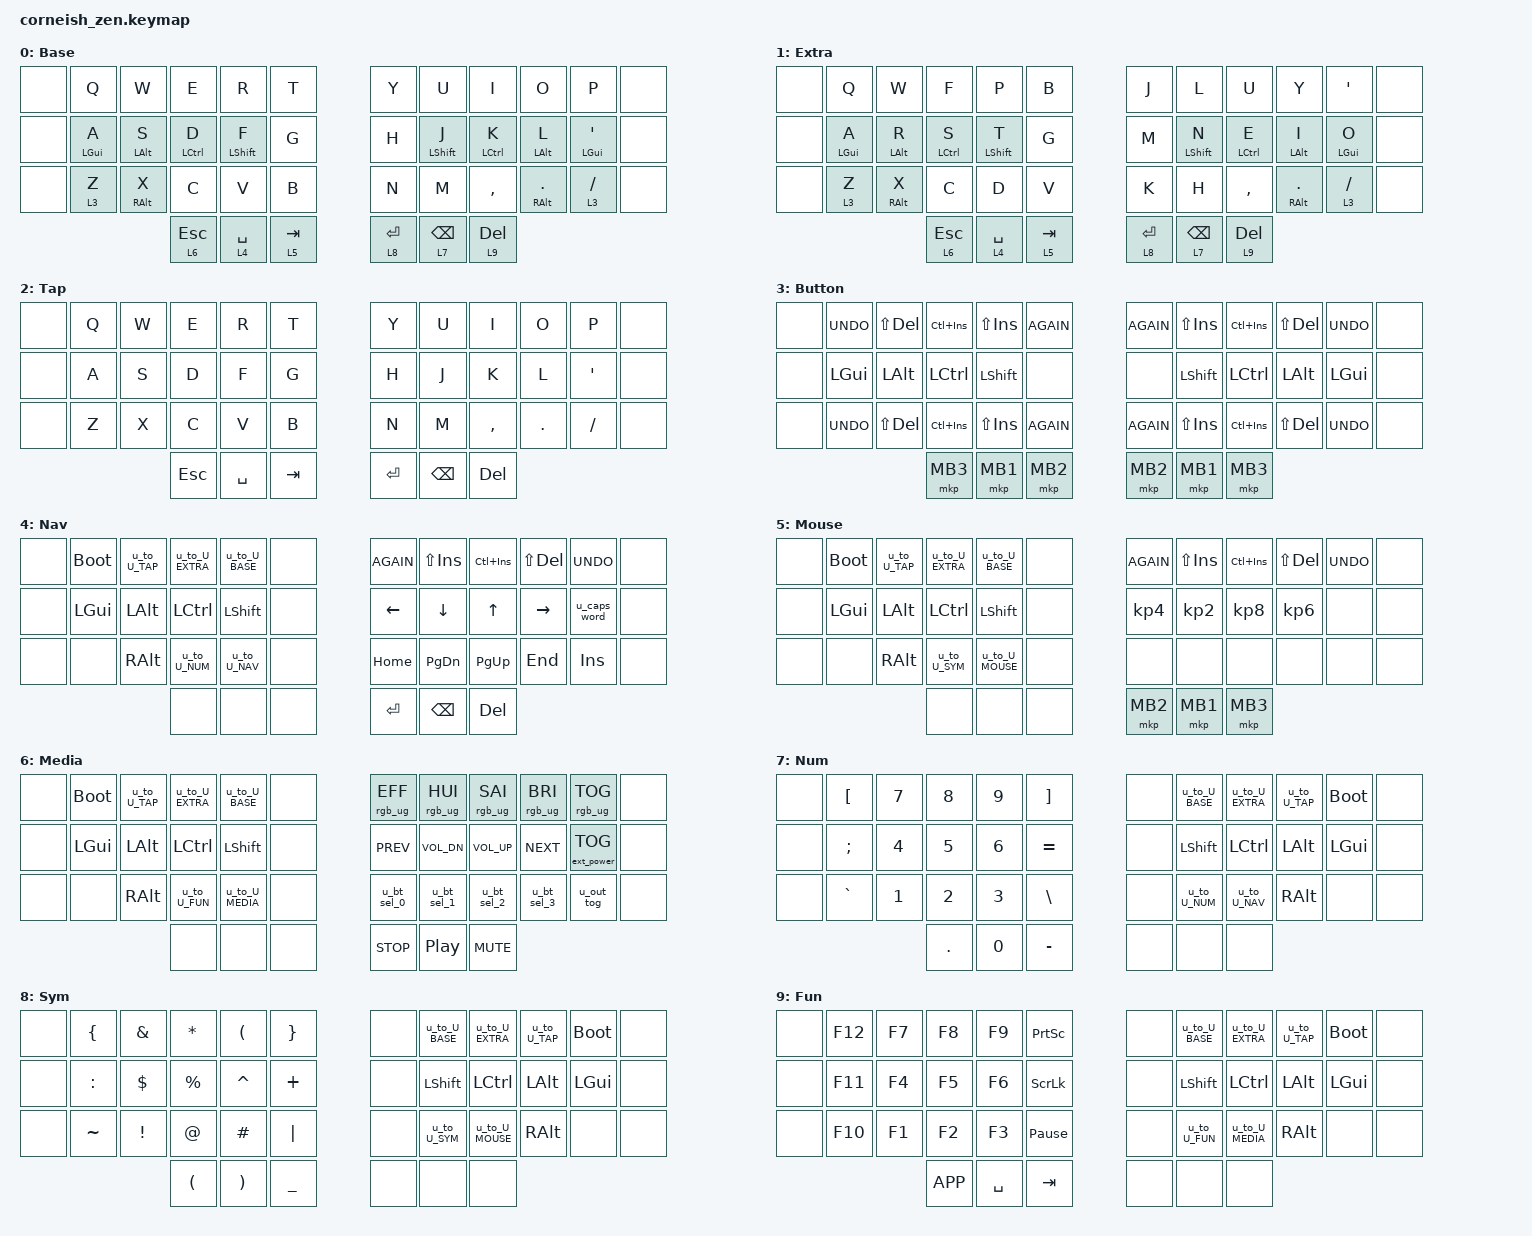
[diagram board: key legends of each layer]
#include <behaviors.dtsi>
#include <behaviors/mouse_key_press.dtsi>
#include <dt-bindings/zmk/keys.h>
#include <dt-bindings/zmk/bt.h>
#include <dt-bindings/zmk/rgb.h>
#include <dt-bindings/zmk/outputs.h>
#include <dt-bindings/zmk/ext_power.h>
#include <dt-bindings/zmk/mouse.h>

/ {
  chosen {
    zmk,matrix_transform = &default_transform;
  };
};
/ {
  keymap {
    compatible = "zmk,keymap";

    BASE { 
      display-name = "Base"; 
        bindings = < 
          &none  &kp Q  &kp W  &kp E  &kp R  &kp T                                     &kp Y  &kp U  &kp I  &kp O  &kp P  &none 
          &none  &u_mt LGUI A  &u_mt LALT S  &u_mt LCTRL D  &u_mt LSHFT F  &kp G       &kp H  &u_mt LSHFT J  &u_mt LCTRL K  &u_mt LALT L  &u_mt LGUI SQT  &none 
          &none  &u_lt 3 Z  &u_mt RALT X  &kp C  &kp V  &kp B                          &kp N  &kp M  &kp COMMA  &u_mt RALT DOT  &u_lt 3 SLASH  &none 
          &u_lt 6 ESC  &u_lt 4 SPACE  &u_lt 5 TAB                                      &u_lt 8 RET  &u_lt 7 BSPC  &u_lt 9 DEL 
        >; 
    }; 

    EXTRA { 
      display-name = "Extra";
      bindings = < 
        &none  &kp Q  &kp W  &kp F  &kp P  &kp B       &kp J  &kp L  &kp U  &kp Y  &kp SQT  &none
        &none  &u_mt LGUI A  &u_mt LALT R  &u_mt LCTRL S  &u_mt LSHFT T  &kp G       &kp M  &u_mt LSHFT N  &u_mt LCTRL E  &u_mt LALT I  &u_mt LGUI O  &none
        &none  &u_lt 3 Z  &u_mt RALT X  &kp C  &kp D  &kp V       &kp K  &kp H  &kp COMMA  &u_mt RALT DOT  &u_lt 3 SLASH  &none 
        &u_lt 6 ESC  &u_lt 4 SPACE  &u_lt 5 TAB       &u_lt 8 RET  &u_lt 7 BSPC  &u_lt 9 DEL
      >; 
    }; 

    TAP { 
      display-name = "Tap"; 
        bindings = < 
          &none  &kp Q  &kp W  &kp E  &kp R  &kp T       &kp Y  &kp U  &kp I  &kp O  &kp P  &none
          &none  &kp A  &kp S  &kp D  &kp F  &kp G       &kp H  &kp J  &kp K  &kp L  &kp SQT  &none
          &none  &kp Z  &kp X  &kp C  &kp V  &kp B       &kp N  &kp M  &kp COMMA  &kp DOT  &kp SLASH  &none
          &kp ESC  &kp SPACE  &kp TAB       &kp RET  &kp BSPC  &kp DEL 
        >;
    };

    BUTTON {
      display-name = "Button";
      bindings = <
        &none  &kp K_UNDO  &kp LS(DEL)  &kp LC(INS)  &kp LS(INS)  &kp K_AGAIN       &kp K_AGAIN  &kp LS(INS)  &kp LC(INS)  &kp LS(DEL)  &kp K_UNDO  &none
        &none  &kp LGUI  &kp LALT  &kp LCTRL  &kp LSHFT  &none       &none  &kp LSHFT  &kp LCTRL  &kp LALT  &kp LGUI  &none
        &none  &kp K_UNDO  &kp LS(DEL)  &kp LC(INS)  &kp LS(INS)  &kp K_AGAIN       &kp K_AGAIN  &kp LS(INS)  &kp LC(INS)  &kp LS(DEL)  &kp K_UNDO  &none
        &mkp MB3  &mkp MB1  &mkp MB2       &mkp MB2  &mkp MB1  &mkp MB3
      >;
    };

    NAV {
      display-name = "Nav";
      bindings = <
        &none  &bootloader  &u_to_U_TAP  &u_to_U_EXTRA  &u_to_U_BASE  &none       &kp K_AGAIN  &kp LS(INS)  &kp LC(INS)  &kp LS(DEL)  &kp K_UNDO  &none
        &none  &kp LGUI  &kp LALT  &kp LCTRL  &kp LSHFT  &none       &kp LEFT  &kp DOWN  &kp UP  &kp RIGHT  &u_caps_word  &none
        &none  &none  &kp RALT  &u_to_U_NUM  &u_to_U_NAV  &none       &kp HOME  &kp PG_DN  &kp PG_UP  &kp END  &kp INS  &none
        &none  &none  &none       &kp RET  &kp BSPC  &kp DEL
      >;
    };

    MOUSE {
      display-name = "Mouse";
      bindings = <
        &none  &bootloader  &u_to_U_TAP  &u_to_U_EXTRA  &u_to_U_BASE  &none       &kp K_AGAIN  &kp LS(INS)  &kp LC(INS)  &kp LS(DEL)  &kp K_UNDO  &none
        &none  &kp LGUI  &kp LALT  &kp LCTRL  &kp LSHFT  &none       &kp KP_N4  &kp KP_N2  &kp KP_N8  &kp KP_N6  &none  &none
        &none  &none  &kp RALT  &u_to_U_SYM  &u_to_U_MOUSE  &none       &none  &none  &none  &none  &none  &none
        &none  &none  &none       &mkp MB2  &mkp MB1  &mkp MB3 
      >;
    };

    MEDIA {
      display-name = "Media";
      bindings = <
        &none  &bootloader  &u_to_U_TAP  &u_to_U_EXTRA  &u_to_U_BASE  &none       &rgb_ug RGB_EFF  &rgb_ug RGB_HUI  &rgb_ug RGB_SAI  &rgb_ug RGB_BRI  &rgb_ug RGB_TOG  &none
        &none  &kp LGUI  &kp LALT  &kp LCTRL  &kp LSHFT  &none       &kp C_PREV  &kp C_VOL_DN  &kp C_VOL_UP  &kp C_NEXT  &ext_power EP_TOG  &none
        &none  &none  &kp RALT  &u_to_U_FUN  &u_to_U_MEDIA  &none       &u_bt_sel_0  &u_bt_sel_1  &u_bt_sel_2  &u_bt_sel_3  &u_out_tog  &none
        &none  &none  &none       &kp C_STOP  &kp C_PP  &kp C_MUTE
      >;
    };

    NUM {
      display-name = "Num";
      bindings = <
        &none  &kp LBKT  &kp N7  &kp N8  &kp N9  &kp RBKT       &none  &u_to_U_BASE  &u_to_U_EXTRA  &u_to_U_TAP  &bootloader  &none
        &none  &kp SEMI  &kp N4  &kp N5  &kp N6  &kp EQUAL       &none  &kp LSHFT  &kp LCTRL  &kp LALT  &kp LGUI  &none
        &none  &kp GRAVE  &kp N1  &kp N2  &kp N3  &kp BSLH       &none  &u_to_U_NUM  &u_to_U_NAV  &kp RALT  &none  &none
        &kp DOT  &kp N0  &kp MINUS       &none  &none  &none
      >;
    };

    SYM {
      display-name = "Sym";
      bindings = <
        &none  &kp LBRC  &kp AMPS  &kp ASTRK  &kp LPAR  &kp RBRC       &none  &u_to_U_BASE  &u_to_U_EXTRA  &u_to_U_TAP  &bootloader  &none
        &none  &kp COLON  &kp DLLR  &kp PRCNT  &kp CARET  &kp PLUS       &none  &kp LSHFT  &kp LCTRL  &kp LALT  &kp LGUI  &none
        &none  &kp TILDE  &kp EXCL  &kp AT  &kp HASH  &kp PIPE       &none  &u_to_U_SYM  &u_to_U_MOUSE  &kp RALT  &none  &none
        &kp LPAR  &kp RPAR  &kp UNDER       &none  &none  &none
      >;
    };

    FUN {
      display-name = "Fun";
      bindings = <
        &none  &kp F12  &kp F7  &kp F8  &kp F9  &kp PSCRN       &none  &u_to_U_BASE  &u_to_U_EXTRA  &u_to_U_TAP  &bootloader  &none
        &none  &kp F11  &kp F4  &kp F5  &kp F6  &kp SLCK       &none  &kp LSHFT  &kp LCTRL  &kp LALT  &kp LGUI  &none
        &none  &kp F10  &kp F1  &kp F2  &kp F3  &kp PAUSE_BREAK       &none  &u_to_U_FUN  &u_to_U_MEDIA  &kp RALT  &none  &none
        &kp K_APP  &kp SPACE  &kp TAB       &none  &none  &none
      >;
    };
  };
};
/ {
  macros {
    u_macro_u_bt_sel_0: u_macro_u_bt_sel_0 {
        compatible = "zmk,behavior-macro";
        #binding-cells = <0>;
        wait-ms = <0>;
        bindings = <&bt BT_SEL 0 &bt BT_CLR>;
    };
    u_macro_u_bt_sel_1: u_macro_u_bt_sel_1 {
        compatible = "zmk,behavior-macro";
        #binding-cells = <0>;
        wait-ms = <0>;
        bindings = <&bt BT_SEL 1 &bt BT_CLR>;
    };
    u_macro_u_bt_sel_2: u_macro_u_bt_sel_2 {
        compatible = "zmk,behavior-macro";
        #binding-cells = <0>;
        wait-ms = <0>;
        bindings = <&bt BT_SEL 2 &bt BT_CLR>;
    };
    u_macro_u_bt_sel_3: u_macro_u_bt_sel_3 {
        compatible = "zmk,behavior-macro";
        #binding-cells = <0>;
        wait-ms = <0>;
        bindings = <&bt BT_SEL 3 &bt BT_CLR>;
    };
    u_macro_u_bt_sel_4: u_macro_u_bt_sel_4 {
        compatible = "zmk,behavior-macro";
        #binding-cells = <0>;
        wait-ms = <0>;
        bindings = <&bt BT_SEL 4 &bt BT_CLR>;
    };
    u_macro_btn1: u_macro_btn1 {
        compatible = "zmk,behavior-macro";
        #binding-cells = <0>;
        wait-ms = <0>;
        bindings = <&kp KP_SLASH &kp KP_N5>;
    };
    u_macro_btn2: u_macro_btn2 {
        compatible = "zmk,behavior-macro";
        #binding-cells = <0>;
        wait-ms = <0>;
        bindings = <&kp KP_MINUS &kp KP_N5>;
    };
    u_macro_btn3: u_macro_btn3 {
        compatible = "zmk,behavior-macro";
        #binding-cells = <0>;
        wait-ms = <0>;
        bindings = <&kp KP_ASTERISK &kp KP_N5>;
    };
  };
};
/ {
  behaviors {
      u_bt_sel_0: u_bt_sel_0 {
          compatible = "zmk,behavior-mod-morph";
          #binding-cells = <0>;
          bindings = <&bt BT_SEL 0>, <&u_macro_u_bt_sel_0>;
          mods = <(MOD_LSFT | MOD_RSFT)>;
      };
      u_bt_sel_1: u_bt_sel_1 {
          compatible = "zmk,behavior-mod-morph";
          #binding-cells = <0>;
          bindings = <&bt BT_SEL 1>, <&u_macro_u_bt_sel_1>;
          mods = <(MOD_LSFT | MOD_RSFT)>;
      };
      u_bt_sel_2: u_bt_sel_2 {
          compatible = "zmk,behavior-mod-morph";
          #binding-cells = <0>;
          bindings = <&bt BT_SEL 2>, <&u_macro_u_bt_sel_2>;
          mods = <(MOD_LSFT | MOD_RSFT)>;
      };
      u_bt_sel_3: u_bt_sel_3 {
          compatible = "zmk,behavior-mod-morph";
          #binding-cells = <0>;
          bindings = <&bt BT_SEL 3>, <&u_macro_u_bt_sel_3>;
          mods = <(MOD_LSFT | MOD_RSFT)>;
      };
      u_bt_sel_4: u_bt_sel_4 {
          compatible = "zmk,behavior-mod-morph";
          #binding-cells = <0>;
          bindings = <&bt BT_SEL 4>, <&u_macro_u_bt_sel_4>;
          mods = <(MOD_LSFT | MOD_RSFT)>;
      };
      u_out_tog: u_out_tog {
          compatible = "zmk,behavior-mod-morph";
          #binding-cells = <0>;
          bindings = <&out OUT_TOG>, <&out OUT_USB>;
          mods = <(MOD_LSFT | MOD_RSFT)>;
      };
      u_caps_word: u_caps_word {
          compatible = "zmk,behavior-mod-morph";
          #binding-cells = <0>;
          bindings = <&caps_word>, <&kp CAPS>;
          mods = <(MOD_LSFT | MOD_RSFT)>;
      };
      u_to_U_BASE: u_to_U_BASE {
          compatible = "zmk,behavior-tap-dance";
          #binding-cells = <0>;
          tapping-term-ms = <200>;
          bindings = <&none>, <&to 0>;
      };
      u_to_U_EXTRA: u_to_U_EXTRA {
          compatible = "zmk,behavior-tap-dance";
          #binding-cells = <0>;
          tapping-term-ms = <200>;
          bindings = <&none>, <&to 1>;
      };
      u_to_U_TAP: u_to_U_TAP {
          compatible = "zmk,behavior-tap-dance";
          #binding-cells = <0>;
          tapping-term-ms = <200>;
          bindings = <&none>, <&to 2>;
      };
      u_to_U_BUTTON: u_to_U_BUTTON {
          compatible = "zmk,behavior-tap-dance";
          #binding-cells = <0>;
          tapping-term-ms = <200>;
          bindings = <&none>, <&to 3>;
      };
      u_to_U_NAV: u_to_U_NAV {
          compatible = "zmk,behavior-tap-dance";
          #binding-cells = <0>;
          tapping-term-ms = <200>;
          bindings = <&none>, <&to 4>;
      };
      u_to_U_MOUSE: u_to_U_MOUSE {
          compatible = "zmk,behavior-tap-dance";
          #binding-cells = <0>;
          tapping-term-ms = <200>;
          bindings = <&none>, <&to 5>;
      };
      u_to_U_MEDIA: u_to_U_MEDIA {
          compatible = "zmk,behavior-tap-dance";
          #binding-cells = <0>;
          tapping-term-ms = <200>;
          bindings = <&none>, <&to 6>;
      };
      u_to_U_NUM: u_to_U_NUM {
          compatible = "zmk,behavior-tap-dance";
          #binding-cells = <0>;
          tapping-term-ms = <200>;
          bindings = <&none>, <&to 7>;
      };
      u_to_U_SYM: u_to_U_SYM {
          compatible = "zmk,behavior-tap-dance";
          #binding-cells = <0>;
          tapping-term-ms = <200>;
          bindings = <&none>, <&to 8>;
      };
      u_to_U_FUN: u_to_U_FUN {
          compatible = "zmk,behavior-tap-dance";
          #binding-cells = <0>;
          tapping-term-ms = <200>;
          bindings = <&none>, <&to 9>;
      };
      u_mt: u_mt {
          compatible = "zmk,behavior-hold-tap";
          #binding-cells = <2>;
          tapping-term-ms = <200>;
          flavor = "tap-preferred";
          bindings = <&kp>, <&kp>;
      };
      u_lt: u_lt {
          compatible = "zmk,behavior-hold-tap";
          #binding-cells = <2>;
          tapping-term-ms = <200>;
          flavor = "tap-preferred";
          bindings = <&mo>, <&kp>;
      };
  };
};  
